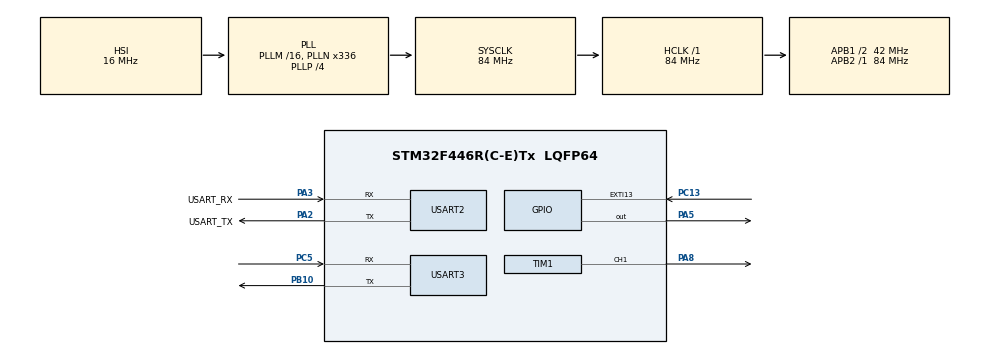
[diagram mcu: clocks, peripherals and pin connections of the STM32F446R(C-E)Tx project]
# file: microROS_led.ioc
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FREERTOS.Mutexes01=connMutex,Dynamic,NULL,Available
FREERTOS.Tasks01=defaultTask,24,3000,StartDefaultTask,Default,NULL,Dynamic,NULL,NULL;Fade,8,200,StartTask02,Default,NULL,Dynamic,NULL,NULL
FREERTOS.configTOTAL_HEAP_SIZE=50000
FREERTOS.configUSE_NEWLIB_REENTRANT=1
IWDG.Prescaler=IWDG_PRESCALER_64
IWDG.Reload=2500
Mcu.Family=STM32F4
Mcu.Name=STM32F446R(C-E)Tx
Mcu.Package=LQFP64
NUCLEO-F446RE.BUTTON=1
NUCLEO-F446RE.LD1=true
NVIC.EXTI15_10_IRQn=true\:5\:0\:false\:false\:true\:true\:false\:true\:true
NVIC.PriorityGroup=NVIC_PRIORITYGROUP_4
NVIC.TIM6_DAC_IRQn=true\:15\:0\:false\:false\:true\:false\:false\:true\:true
NVIC.TimeBase=TIM6_DAC_IRQn
NVIC.TimeBaseIP=TIM6
NVIC.USART2_IRQn=true\:5\:0\:false\:false\:true\:true\:true\:true\:true
PA13.GPIO_Label=TMS
PA13.Signal=SYS_JTMS-SWDIO
PA14.GPIO_Label=TCK
PA14.Signal=SYS_JTCK-SWCLK
PA2.GPIO_Label=USART_TX
PA2.Mode=Asynchronous
PA2.Signal=USART2_TX
PA3.GPIO_Label=USART_RX
PA3.Mode=Asynchronous
PA3.Signal=USART2_RX
PA5.Signal=GPIO_Output
PA8.Signal=S_TIM1_CH1
PB10.Mode=Asynchronous
PB10.Signal=USART3_TX
PB3.GPIO_Label=SWO
PB3.Signal=SYS_JTDO-SWO
PC13.Signal=GPXTI13
PC14-OSC32_IN.Signal=RCC_OSC32_IN
PC15-OSC32_OUT.Signal=RCC_OSC32_OUT
PC5.Mode=Asynchronous
PC5.Signal=USART3_RX
PH0-OSC_IN.Signal=RCC_OSC_IN
PH1-OSC_OUT.Signal=RCC_OSC_OUT
ProjectManager.HeapSize=0x200
ProjectManager.StackSize=0x400
ProjectManager.TargetToolchain=STM32CubeIDE
RCC.AHBFreq_Value=84000000
RCC.APB1CLKDivider=RCC_HCLK_DIV2
RCC.APB1Freq_Value=42000000
RCC.APB1TimFreq_Value=84000000
RCC.APB2Freq_Value=84000000
RCC.APB2TimFreq_Value=84000000
RCC.CortexFreq_Value=84000000
RCC.FLatency-AdvancedSettings=FLASH_LATENCY_2
RCC.HCLKFreq_Value=84000000
RCC.HSE_VALUE=8000000
RCC.HSI_VALUE=16000000
RCC.LSE_VALUE=32768
RCC.PLLN=336
RCC.PLLP=RCC_PLLP_DIV4
RCC.SYSCLKFreq_VALUE=84000000
RCC.SYSCLKSource=RCC_SYSCLKSOURCE_PLLCLK
RCC.USBFreq_Value=168000000
RCC.VCOOutputFreq_Value=336000000
SH.S_TIM1_CH1.0=TIM1_CH1,PWM Generation1 CH1
TIM1.Channel-PWM\ Generation1\ CH1=TIM_CHANNEL_1
TIM1.Prescaler=83
USART2.VirtualMode=VM_ASYNC
USART3.VirtualMode=VM_ASYNC
VP_FREERTOS_VS_CMSIS_V2.Mode=CMSIS_V2
VP_IWDG_VS_IWDG.Mode=IWDG_Activate
VP_NUCLEO-F446RE_VS_BSP_COMMON.Mode=COMMON
VP_SYS_VS_tim6.Mode=TIM6
board=NUCLEO-F446RE

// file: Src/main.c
/* USER CODE BEGIN Header */
/**
  ******************************************************************************
  * @file           : main.c
  * @brief          : Main program body
  ******************************************************************************
  * @attention
  *
  * Copyright (c) 2026 STMicroelectronics.
  * All rights reserved.
  *
  * This software is licensed under terms that can be found in the LICENSE file
  * in the root directory of this software component.
  * If no LICENSE file comes with this software, it is provided AS-IS.
  *
  ******************************************************************************
  */
/* USER CODE END Header */
#include "main.h"
#include "cmsis_os.h"
#include "iwdg.h"
#include "tim.h"
#include "usart.h"
#include "gpio.h"

/* USER CODE BEGIN Includes */
#include "rcl/rcl.h"
#include "rclc/rclc.h"
#include "rclc/executor.h"
#include <uxr/client/transport.h>
#include <rmw_microxrcedds_c/config.h>
#include "rmw_microros/rmw_microros.h"
#include <std_msgs/msg/int32.h>
#include <std_msgs/msg/bool.h>
#include "stdio.h"

/* USER CODE END Includes */

/* USER CODE BEGIN PTD */
typedef enum states {
  WAITING_AGENT,
  AGENT_AVAILABLE,
  AGENT_CONNECTED,
  AGENT_DISCONNECTED
} state_t;

extern int state;
extern uint32_t last_ping_time;
extern bool last_reset_was_iwdg;
extern uint32_t reset_count;

/* USER CODE END PTD */

void SystemClock_Config(void);
void MX_FREERTOS_Init(void);
/* USER CODE BEGIN PFP */
void StartDefaultTask(void *argument);
void StartTask02(void *argument);
/* USER CODE END PFP */

/* USER CODE BEGIN 0 */
//int _write(int file, char *ptr, int len){
//	for(int i = 0; i<len; i++)
//	{
//		ITM_SendChar((*ptr));
//	}
//	return len;
//}
extern UART_HandleTypeDef huart3;
int _write(int file, char *ptr, int len) {
    // Change &huart2 to match your configured UART (e.g., &huart1)
    HAL_UART_Transmit(&huart3, (uint8_t*)ptr, len, HAL_MAX_DELAY);
    return len;
}
uint8_t maincount=0;

/* USER CODE END 0 */

int main(void)
{

  /* USER CODE BEGIN 1 */
	last_reset_was_iwdg = __HAL_RCC_GET_FLAG(RCC_FLAG_IWDGRST) ? 1 : 0;
	__HAL_RCC_CLEAR_RESET_FLAGS();
	reset_count++;
  /* USER CODE END 1 */

  /* MCU Configuration--------------------------------------------------------*/

  /* Reset of all peripherals, Initializes the Flash interface and the Systick. */
  HAL_Init();

  /* Configure the system clock */
  SystemClock_Config();

  /* Initialize all configured peripherals */
  MX_GPIO_Init();
  MX_USART2_UART_Init();
  MX_TIM1_Init();
  MX_IWDG_Init();
  MX_USART3_UART_Init();

  /* Init scheduler */
  osKernelInitialize();  /* Call init function for freertos objects (in cmsis_os2.c) */
  MX_FREERTOS_Init();

  /* Initialize leds */
  BSP_LED_Init(LED2);

  /* Initialize USER push-button, will be used to trigger an interrupt each time it's pressed.*/
  BSP_PB_Init(BUTTON_USER, BUTTON_MODE_EXTI);

  /* Start scheduler */
  osKernelStart();

  /* We should never get here as control is now taken by the scheduler */

  /* Infinite loop */
  /* USER CODE BEGIN WHILE */

  // 1. Mark the start time of the connection attempt

  // 3. Continue regular application code here if connected == 1

  while (1)
  {

    /* USER CODE END WHILE */

  }
}

void SystemClock_Config(void)
{
  RCC_OscInitTypeDef RCC_OscInitStruct = {0};
  RCC_ClkInitTypeDef RCC_ClkInitStruct = {0};

  /** Configure the main internal regulator output voltage
  */
  __HAL_RCC_PWR_CLK_ENABLE();
  __HAL_PWR_VOLTAGESCALING_CONFIG(PWR_REGULATOR_VOLTAGE_SCALE3);

  /** Initializes the RCC Oscillators according to the specified parameters
  * in the RCC_OscInitTypeDef structure.
  */
  RCC_OscInitStruct.OscillatorType = RCC_OSCILLATORTYPE_HSI|RCC_OSCILLATORTYPE_LSI;
  RCC_OscInitStruct.HSIState = RCC_HSI_ON;
  RCC_OscInitStruct.HSICalibrationValue = RCC_HSICALIBRATION_DEFAULT;
  RCC_OscInitStruct.LSIState = RCC_LSI_ON;
  RCC_OscInitStruct.PLL.PLLState = RCC_PLL_ON;
  RCC_OscInitStruct.PLL.PLLSource = RCC_PLLSOURCE_HSI;
  RCC_OscInitStruct.PLL.PLLM = 16;
  RCC_OscInitStruct.PLL.PLLN = 336;
  RCC_OscInitStruct.PLL.PLLP = RCC_PLLP_DIV4;
  RCC_OscInitStruct.PLL.PLLQ = 2;
  RCC_OscInitStruct.PLL.PLLR = 2;
  if (HAL_RCC_OscConfig(&RCC_OscInitStruct) != HAL_OK)
  {
    Error_Handler();
  }

  /** Initializes the CPU, AHB and APB buses clocks
  */
  RCC_ClkInitStruct.ClockType = RCC_CLOCKTYPE_HCLK|RCC_CLOCKTYPE_SYSCLK
                              |RCC_CLOCKTYPE_PCLK1|RCC_CLOCKTYPE_PCLK2;
  RCC_ClkInitStruct.SYSCLKSource = RCC_SYSCLKSOURCE_PLLCLK;
  RCC_ClkInitStruct.AHBCLKDivider = RCC_SYSCLK_DIV1;
  RCC_ClkInitStruct.APB1CLKDivider = RCC_HCLK_DIV2;
  RCC_ClkInitStruct.APB2CLKDivider = RCC_HCLK_DIV1;

  if (HAL_RCC_ClockConfig(&RCC_ClkInitStruct, FLASH_LATENCY_2) != HAL_OK)
  {
    Error_Handler();
  }
}

void HAL_TIM_PeriodElapsedCallback(TIM_HandleTypeDef *htim)
{
  if (htim->Instance == TIM6)
  {
    HAL_IncTick();
  }
}

void Error_Handler(void)
{
  __disable_irq();
  while (1)
  {
  }
}

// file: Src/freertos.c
/* USER CODE BEGIN Header */
/**
  ******************************************************************************
  * File Name          : freertos.c
  * Description        : Code for freertos applications
  ******************************************************************************
  * @attention
  *
  * Copyright (c) 2026 STMicroelectronics.
  * All rights reserved.
  *
  * This software is licensed under terms that can be found in the LICENSE file
  * in the root directory of this software component.
  * If no LICENSE file comes with this software, it is provided AS-IS.
  *
  ******************************************************************************
  */
/* USER CODE END Header */

#include "FreeRTOS.h"
#include "task.h"
#include "main.h"
#include "cmsis_os.h"

/* USER CODE BEGIN Includes */
#include <string.h>
#include <stdio.h>
#include <rcl/rcl.h>
#include <rcl/error_handling.h>
#include <rclc/rclc.h>
#include <rclc/executor.h>
#include <uxr/client/transport.h>
#include <rmw_microxrcedds_c/config.h>
#include <rmw_microros/rmw_microros.h>
#include <std_msgs/msg/string.h>
#include <std_msgs/msg/int32.h>
#include <std_msgs/msg/bool.h>
#include "sys/time.h"
#include "iwdg.h"
#include <kratos_teerth_rohan_pandya_msgs/msg/rover_status.h>
/* USER CODE END Includes */

/* USER CODE BEGIN PTD */
typedef enum states {
  WAITING_AGENT,
  AGENT_AVAILABLE,
  AGENT_CONNECTED,
  AGENT_DISCONNECTED
} state_t;

state_t state = WAITING_AGENT;
uint32_t last_ping_time = 0;
const uint32_t HEARTBEAT_INTERVAL_MS = 1000;
/* USER CODE END PTD */

/* USER CODE BEGIN Variables */
extern UART_HandleTypeDef huart2;
extern TIM_HandleTypeDef htim1;

bool cubemx_transport_open(struct uxrCustomTransport * transport);
bool cubemx_transport_close(struct uxrCustomTransport * transport);
size_t cubemx_transport_write(struct uxrCustomTransport* transport, const uint8_t * buf, size_t len, uint8_t * err);
size_t cubemx_transport_read(struct uxrCustomTransport* transport, uint8_t * buf, size_t len, int timeout, uint8_t * err);

#define LED_PORT GPIOA
#define LED_PIN GPIO_PIN_5

rcl_subscription_t led_control_subscriber;
rcl_subscription_t fade_speed_subscriber;
rcl_subscription_t custom_message_subscriber;

std_msgs__msg__Bool   led_control_msg;
std_msgs__msg__Int32  fade_speed_msg;
std_msgs__msg__String custom_message_msg;
char custom_message_buffer[50];

rcl_publisher_t counter_publisher;
rcl_publisher_t string_publisher;
std_msgs__msg__Int32 counter_msg;
std_msgs__msg__String string_msg;
char string_buffer[50];
rcl_timer_t timer;

void * microros_allocate(size_t size, void * state);
void microros_deallocate(void * pointer, void * state);
void * microros_reallocate(void * pointer, size_t size, void * state);
void * microros_zero_allocate(size_t number_of_elements, size_t size_of_element, void * state);

volatile bool led_manual_override = false;
volatile bool led_manual_state = false;
volatile int32_t fade_step = 10;          // default step size, same as before
volatile bool custom_message_active = false;
char custom_message_storage[50];
rcl_publisher_t custom_status_publisher;
kratos_teerth_rohan_pandya_msgs__msg__RoverStatus custom_status_msg;
// Add near your other globals
volatile uint32_t ore_error_count = 0;
volatile uint32_t spin_error_count = 0;
size_t min_free_heap = SIZE_MAX;
volatile uint32_t p_error = 0;
/* USER CODE END Variables */
/* Definitions for defaultTask */
osThreadId_t defaultTaskHandle;
const osThreadAttr_t defaultTask_attributes = {
  .name = "defaultTask",
  .stack_size = 3000 * 4,
  .priority = (osPriority_t) osPriorityNormal,
};
/* Definitions for Fade */
osThreadId_t FadeHandle;
const osThreadAttr_t Fade_attributes = {
  .name = "Fade",
  .stack_size = 200 * 4,
  .priority = (osPriority_t) osPriorityLow,
};
/* Definitions for connMutex */
osMutexId_t connMutexHandle;
const osMutexAttr_t connMutex_attributes = {
  .name = "connMutex"
};

void StartDefaultTask(void *argument);
void StartTask02(void *argument);

void MX_FREERTOS_Init(void); /* (MISRA C 2004 rule 8.1) */

void MX_FREERTOS_Init(void) {
  /* Create the mutex(es) */
  /* creation of connMutex */
  connMutexHandle = osMutexNew(&connMutex_attributes);

  /* Create the thread(s) */
  /* creation of defaultTask */
  defaultTaskHandle = osThreadNew(StartDefaultTask, NULL, &defaultTask_attributes);

  /* creation of Fade */
  FadeHandle = osThreadNew(StartTask02, NULL, &Fade_attributes);

}

/* USER CODE BEGIN Header_StartDefaultTask */
__attribute__((section(".noinit"))) volatile uint32_t reset_count;
__attribute__((section(".noinit"))) volatile uint32_t last_reset_was_iwdg;

void timer_callback(rcl_timer_t * timer, int64_t last_call_time)
{
  (void) last_call_time;
  if (timer != NULL) {

    if (led_manual_override) {
      HAL_GPIO_WritePin(LED_PORT, LED_PIN, led_manual_state ? GPIO_PIN_SET : GPIO_PIN_RESET);
    } else {
      HAL_GPIO_TogglePin(LED_PORT, LED_PIN);
    }
}

    rcl_ret_t ret1 = rcl_publish(&counter_publisher, &counter_msg, NULL);
    (void)ret1;
    counter_msg.data++;

    if (custom_message_active) {
      snprintf(string_buffer, sizeof(string_buffer), "%s", custom_message_storage);
    } else {
      snprintf(string_buffer, sizeof(string_buffer), "Hello from Nucleo! count=%ld", (long)counter_msg.data);
      snprintf(string_buffer, sizeof(string_buffer), "cnt=%ld ore=%lu spin_err=%lu heap=%lu, ping = %lu",
          (long)counter_msg.data, ore_error_count, spin_error_count, (unsigned long)min_free_heap,p_error);
    }
    string_msg.data.data = string_buffer;
    string_msg.data.size = strlen(string_buffer);
    string_msg.data.capacity = sizeof(string_buffer);
    rcl_ret_t ret2 = rcl_publish(&string_publisher, &string_msg, NULL);
    (void)ret2;
  }

int _gettimeofday(struct timeval *tv, void *tzvp) {
  (void)tzvp;
  uint32_t tick = HAL_GetTick();
  tv->tv_sec = tick / 1000;
  tv->tv_usec = (tick % 1000) * 1000;
  return 0;
}

void led_control_callback(const void *msgin) {
  const std_msgs__msg__Bool * msg = (const std_msgs__msg__Bool *) msgin;
  led_manual_override = true;
  led_manual_state = msg->data;
}

void fade_speed_callback(const void *msgin) {
  const std_msgs__msg__Int32 * msg = (const std_msgs__msg__Int32 *) msgin;
  if (msg->data >= 0 && msg->data <= 999) {
    fade_step = msg->data;
  }
}

void custom_message_callback(const void * msgin) {
  const std_msgs__msg__String * msg = (const std_msgs__msg__String *) msgin;
  size_t len = msg->data.size;
  if (len >= sizeof(custom_message_storage)) {
    len = sizeof(custom_message_storage) - 1;
  }
  memcpy(custom_message_storage, msg->data.data, len);
  custom_message_storage[len] = '\0';
  custom_message_active = true;
}
/**
  * @brief  Function implementing the defaultTask thread.
  * @param  argument: Not used
  * @retval None
  */
/* USER CODE END Header_StartDefaultTask */
void StartDefaultTask(void *argument)
{
  /* USER CODE BEGIN StartDefaultTask */
	rmw_uros_set_custom_transport(
	    true,
	    (void *) &huart2,
	    cubemx_transport_open,
	    cubemx_transport_close,
	    cubemx_transport_write,
	    cubemx_transport_read);

  /* Infinite Outer Loop: Connection & Initialization Manager */

      HAL_IWDG_Refresh(&hiwdg);
	  rcl_allocator_t allocator = rcl_get_default_allocator();
	  rclc_support_t support;
	  rclc_support_init(&support, 0, NULL, &allocator);

//      // 1. Wait until the laptop agent is actually listening

      // 2. Agent found! Initialize everything
//	  rcl_allocator_t allocator = rcl_get_default_allocator();
//	  rclc_support_t support;
//	  rclc_support_init(&support, 0, NULL, &allocator);

	  rcl_node_t node;
	  rclc_node_init_default(&node, "nucleo_led_node", "", &support);

	  rclc_publisher_init_default(&counter_publisher, &node, ROSIDL_GET_MSG_TYPE_SUPPORT(std_msgs, msg, Int32), "led_blink_count");
	  rclc_publisher_init_default(&string_publisher, &node, ROSIDL_GET_MSG_TYPE_SUPPORT(std_msgs, msg, String), "nucleo_chatter");
	  rclc_publisher_init_default(&custom_status_publisher, &node, ROSIDL_GET_MSG_TYPE_SUPPORT(kratos_teerth_rohan_pandya_msgs, msg, RoverStatus), "nucleo_status_topic");
	  rclc_subscription_init_best_effort(&led_control_subscriber, &node, ROSIDL_GET_MSG_TYPE_SUPPORT(std_msgs, msg, Bool), "led_control");
	  rclc_subscription_init_best_effort(&fade_speed_subscriber, &node, ROSIDL_GET_MSG_TYPE_SUPPORT(std_msgs, msg, Int32), "fade_speed");
	  rclc_subscription_init_best_effort(&custom_message_subscriber, &node, ROSIDL_GET_MSG_TYPE_SUPPORT(std_msgs, msg, String), "custom_message");

	  rclc_timer_init_default2(&timer, &support, RCL_MS_TO_NS(10), timer_callback, true);

	  rclc_executor_t executor;
	  rclc_executor_init(&executor, &support.context, 4, &allocator);
	  rclc_executor_add_timer(&executor, &timer);
	  rclc_executor_add_subscription(&executor, &led_control_subscriber, &led_control_msg, &led_control_callback, ON_NEW_DATA);
	  rclc_executor_add_subscription(&executor, &fade_speed_subscriber, &fade_speed_msg, &fade_speed_callback, ON_NEW_DATA);

	  custom_message_msg.data.data = custom_message_buffer;
	  custom_message_msg.data.size = 0;
	  custom_message_msg.data.capacity = sizeof(custom_message_buffer);
	  rclc_executor_add_subscription(&executor, &custom_message_subscriber, &custom_message_msg, &custom_message_callback, ON_NEW_DATA);
	  rcl_ret_t spin_ret = rclc_executor_spin_some(&executor, RCL_MS_TO_NS(100));
	  counter_msg.data = 0;
      uint32_t last_ping_time = HAL_GetTick();
      int missed_spins = 0;
      // 3. Infinite Inner Loop: Normal Operation
      for(;;)
      {
          while (rmw_uros_ping_agent(100, 1) != RMW_RET_OK) {
//        	  osThreadSuspend(FadeHandle);
        	  HAL_GPIO_TogglePin(LED_PORT, LED_PIN);
        	  osDelay(5);
//        	  osThreadSuspend(FadeHandle);   // stop the other task from touching HW mid-reset
//        	  NVIC_SystemReset();
          }

	      rclc_executor_spin_some(&executor, RCL_MS_TO_NS(100));
	      if (spin_ret != RCL_RET_OK && spin_ret != RCL_RET_TIMEOUT) {
	          spin_error_count++;
	          missed_spins++;
	                 if (missed_spins > 20) {
	                     break;
	                 }
	              else {
	                 missed_spins = 0;
	             }
	      }

	      size_t current_free = xPortGetFreeHeapSize();
	      if (current_free < min_free_heap) {
	          min_free_heap = current_free;
	      }
	      // --- 1. Populate the 6-element arm_cmd array ---
	      custom_status_msg.arm_cmd[0] = 1.54;
	      custom_status_msg.arm_cmd[1] = -0.23;
	      custom_status_msg.arm_cmd[2] = 3.14;
	      custom_status_msg.arm_cmd[3] = 0.0;
	      custom_status_msg.arm_cmd[4] = 1.0;
	      custom_status_msg.arm_cmd[5] = -1.0;

	      // --- 2. Populate the 4-element wheel_vel array ---
	      custom_status_msg.wheel_vel[0] = 2.5;  // Front Left
	      custom_status_msg.wheel_vel[1] = 2.5;  // Front Right
	      custom_status_msg.wheel_vel[2] = 2.5;  // Rear Left
	      custom_status_msg.wheel_vel[3] = 2.5;  // Rear Right

	      // --- 3. Populate the 4-element wheel_angle array ---
	      custom_status_msg.wheel_angle[0] = 0.785;  // ~45 degrees in radians
	      custom_status_msg.wheel_angle[1] = -0.785;
	      custom_status_msg.wheel_angle[2] = 0.0;
	      custom_status_msg.wheel_angle[3] = 0.0;

	      // --- 4. Publish the fully populated message ---
	      rcl_publish(&custom_status_publisher, &custom_status_msg, NULL);
	      HAL_IWDG_Refresh(&hiwdg);
	      osDelay(1);
      } // End of Inner Loop

      // 4. Teardown: Free memory cleanly before restarting
      rclc_executor_fini(&executor);
      rcl_publisher_fini(&counter_publisher, &node);
      rcl_publisher_fini(&string_publisher, &node);
      rcl_subscription_fini(&led_control_subscriber, &node);
      rcl_subscription_fini(&fade_speed_subscriber, &node);
      rcl_subscription_fini(&custom_message_subscriber, &node);
      rcl_timer_fini(&timer);
      rcl_node_fini(&node);
      rclc_support_fini(&support);

      // Reset the transport layer
      cubemx_transport_close(NULL);
      cubemx_transport_open(NULL);

//} // Outer loop repeats, sending it back to "Wait for Agent"
  /* USER CODE END StartDefaultTask */
}

void StartTask02(void *argument)
{
  /* USER CODE BEGIN StartTask02 */
	HAL_TIM_PWM_Start(&htim1, TIM_CHANNEL_1);

	  uint32_t max_duty = 999;  // 999, from ARR
	  int32_t duty = 0;
	  int8_t direction = 1;
  /* Infinite loop */
  for(;;)
  {
//	  if (rmw_uros_ping_agent(100, 1) != RMW_RET_OK) {
//
//	  osThreadSuspend(StartDefaultTask);
//	  HAL_GPIO_TogglePin(LED_PORT, LED_PIN);
//	  osDelay(500);
//
//	            }
//	  else{
//		  osThreadSuspend(defaultTaskHandle);
//		  NVIC_SystemReset();
//	  }
	  __HAL_TIM_SET_COMPARE(&htim1, TIM_CHANNEL_1, duty);

	      duty += direction * 10;
	      if (duty >= (int32_t)max_duty) {
	        duty = max_duty;
	        direction = -1;
	      } else if (duty <= 0) {
	        duty = 0;
	        direction = 1;
	      }

	      osDelay(5);
  }
  /* USER CODE END StartTask02 */
}
